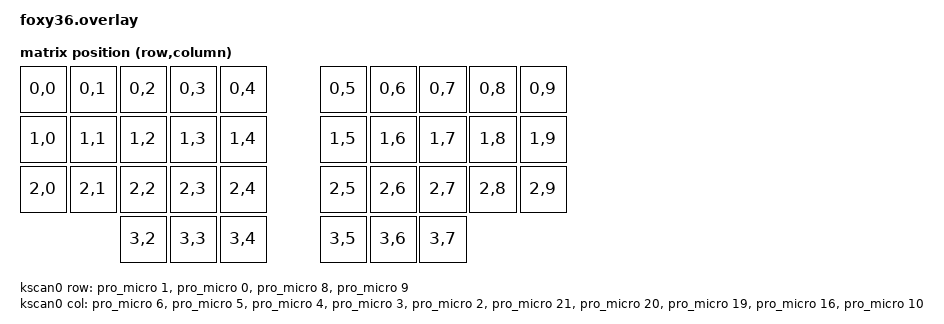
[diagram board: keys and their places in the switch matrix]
#define ZMK_POINTING_DEFAULT_MOVE_VAL 1500  // default: 600
#define ZMK_POINTING_DEFAULT_SCRL_VAL 20    // default: 10

#include <dt-bindings/zmk/matrix_transform.h>
#include <dt-bindings/zmk/mouse.h>
#include <behaviors.dtsi>
#include <dt-bindings/zmk/bt.h>
#include <dt-bindings/zmk/keys.h>
#include <dt-bindings/zmk/pointing.h>

&mt {
    flavor = "tap-preferred";
    tapping-terms-ms = <300>;
};

/ {
    behaviors {
        skq: skq {
            compatible = "zmk,behavior-sticky-key";
            label = "SKQ";
            bindings = <&kp>;
            #binding-cells = <1>;
            release-after-ms = <1000>;
            quick-release;
        };

        dt_copy: dt_copy {
            compatible = "zmk,behavior-tap-dance";
            label = "DT_COPY";
            #binding-cells = <0>;
            bindings = <&kp W>, <&copy_mac>;
        };

        dt_paste: dt_paste {
            compatible = "zmk,behavior-tap-dance";
            label = "DT_PASTE";
            #binding-cells = <0>;
            bindings = <&kp P>, <&paste_mac>;
        };

        dt_cut: dt_cut {
            compatible = "zmk,behavior-tap-dance";
            label = "DT_CUT";
            #binding-cells = <0>;
            bindings = <&kp X>, <&cut_mac>;
        };

        ht_copy_mac: ht_copy_mac {
            compatible = "zmk,behavior-hold-tap";
            label = "HT_COPY_MAC";
            bindings = <&copy_mac>, <&kp>;

            #binding-cells = <2>;
            tapping-term-ms = <200>;
            require-prior-idle-ms = <500>;
            flavor = "tap-preferred";
        };

        ht_cut_mac: ht_cut_mac {
            compatible = "zmk,behavior-hold-tap";
            label = "HT_CUT_MAC";
            bindings = <&cut_mac>, <&kp>;

            #binding-cells = <2>;
            tapping-term-ms = <200>;
            require-prior-idle-ms = <500>;
            flavor = "tap-preferred";
        };

        ht_paste_mac: ht_paste_mac {
            compatible = "zmk,behavior-hold-tap";
            label = "HT_PASTE_MAC";
            bindings = <&paste_mac>, <&kp>;

            #binding-cells = <2>;
            tapping-term-ms = <200>;
            require-prior-idle-ms = <500>;
            flavor = "tap-preferred";
        };

        hold_tap_layer: hold_tap_layer {
            compatible = "zmk,behavior-hold-tap";
            label = "HOLD_TAP_LAYER";
            bindings = <&kp>, <&tog>;

            #binding-cells = <2>;
            tapping-term-ms = <200>;
            flavor = "hold-preferred";
        };

        ht_tmx_scrl: ht_tmx_scrl {
            compatible = "zmk,behavior-hold-tap";
            label = "HT_TMX_SCRL";
            bindings = <&mc_tmx_scrl>, <&kp>;

            #binding-cells = <2>;
            tapping-term-ms = <300>;
            flavor = "tap-preferred";
            require-prior-idle-ms = <200>;
        };
      combos {
        compatible = "zmk,combos";

        Shift {
            bindings = <&skq LEFT_SHIFT>;
            key-positions = <16 15>;
            timeout-ms = <75>;
            require-prior-idle-ms = <200>;
        };

        Ctrl {
            bindings = <&sk LEFT_CONTROL>;
            key-positions = <14 15>;
            require-prior-idle-ms = <200>;
        };

        Alt {
            bindings = <&sk LEFT_ALT>;
            key-positions = <14 13>;
            require-prior-idle-ms = <200>;
        };

        Mod {
            bindings = <&sk LEFT_GUI>;
            key-positions = <27 28>;
            require-prior-idle-ms = <200>;
        };

        r_Alt {
            bindings = <&sk LEFT_ALT>;
            key-positions = <19 20>;
            require-prior-idle-ms = <350>;
        };

        toggle_qwerty {
            bindings = <&to 1>;
            key-positions = <37 40>;
            timeout-ms = <75>;
            require-prior-idle-ms = <200>;
            layers = <0>;
        };

        toggle_colemakdh {
            bindings = <&to 0>;
            key-positions = <37 40>;
            timeout-ms = <75>;
            require-prior-idle-ms = <200>;
            layers = <1>;
        };

        r_Ctrl {
            bindings = <&sk RIGHT_CONTROL>;
            key-positions = <20 21>;
            require-prior-idle-ms = <350>;
        };

        r_Shift {
            bindings = <&sk RIGHT_SHIFT>;
            key-positions = <21 22>;
            require-prior-idle-ms = <350>;
        };

        r_Mod {
            bindings = <&sk RIGHT_GUI>;
            key-positions = <31 32>;
            require-prior-idle-ms = <350>;
        };
    };

    macros {
        bt_0: bt_0 {
            compatible = "zmk,behavior-macro";
            #binding-cells = <0>;
            bindings = <&bt BT_SEL 0 &to 0>;
            label = "BT_0";
        };

        bt_1: bt_1 {
            compatible = "zmk,behavior-macro";
            #binding-cells = <0>;
            bindings = <&bt BT_SEL 1 &to 0>;
            label = "BT_1";
        };

        bt_2: bt_2 {
            compatible = "zmk,behavior-macro";
            #binding-cells = <0>;
            bindings = <&bt BT_SEL 2 &to 0>;
            label = "BT_2";
        };

        bt_3: bt_3 {
            compatible = "zmk,behavior-macro";
            #binding-cells = <0>;
            bindings = <&bt BT_SEL 3 &to 0>;
            label = "BT_3";
        };

        bt_4: bt_4 {
            compatible = "zmk,behavior-macro";
            #binding-cells = <0>;
            bindings = <&bt BT_SEL 4 &to 0>;
            label = "BT_4";
        };

        copy_mac: copy {
            compatible = "zmk,behavior-macro";
            #binding-cells = <0>;
            bindings = <&sk LEFT_COMMAND &kp C>;
            label = "COPY";
        };

        paste_mac: paste {
            compatible = "zmk,behavior-macro";
            #binding-cells = <0>;
            bindings = <&sk LEFT_COMMAND &kp V>;
            label = "PASTE";
        };

        cut_mac: cut_mac {
            compatible = "zmk,behavior-macro";
            #binding-cells = <0>;
            bindings = <&sk LEFT_COMMAND &kp X>;
            label = "CUT_MAC";
        };

        mc_tmx_scrl: mc_tmx_scrl {
            compatible = "zmk,behavior-macro";
            #binding-cells = <0>;
            bindings = <&sk LC(S) &kp LEFT_BRACKET>;
            label = "MC_TMX_SCRL";
        };
    };
    };

    kscan0: kscan0 {
        compatible = "zmk,kscan-gpio-matrix";
        diode-direction = "col2row";
        wakeup-source;

        col-gpios
            = <&pro_micro 6 GPIO_ACTIVE_HIGH>
            , <&pro_micro 5 GPIO_ACTIVE_HIGH>
            , <&pro_micro 4 GPIO_ACTIVE_HIGH>
            , <&pro_micro 3 GPIO_ACTIVE_HIGH>
            , <&pro_micro 2 GPIO_ACTIVE_HIGH>
            , <&pro_micro 21 GPIO_ACTIVE_HIGH>
            , <&pro_micro 20 GPIO_ACTIVE_HIGH>
            , <&pro_micro 19 GPIO_ACTIVE_HIGH>
            , <&pro_micro 16 GPIO_ACTIVE_HIGH>
            , <&pro_micro 10 GPIO_ACTIVE_HIGH>
            ;

        row-gpios
            = <&pro_micro 1 (GPIO_ACTIVE_HIGH | GPIO_PULL_DOWN)>
            , <&pro_micro 0 (GPIO_ACTIVE_HIGH | GPIO_PULL_DOWN)>
            , <&pro_micro 8 (GPIO_ACTIVE_HIGH | GPIO_PULL_DOWN)>
            , <&pro_micro 9 (GPIO_ACTIVE_HIGH | GPIO_PULL_DOWN)>
            ;
    };

    default_transform: matrix_transform {
        compatible = "zmk,matrix-transform";
        rows = <4>;
        columns = <10>;
        // ┌───┬───┬───┬───┬───┐  ┌───┬───┬───┬───┬───┐
        // │ Q │ W │ F │ P │ B │  │ J │ L │ U │ Y │ ; │
        // ├───┼───┼───┼───┼───┤  ├───┼───┼───┼───┼───┤
        // │ A │ R │ S │ T │ G │  │ H │ N │ E │ I │ O │
        // ├───┼───┼───┼───┼───┤  ├───┼───┼───┼───┼───┤
        // │ Z │ X │ C │ D │ V │  │ K │ H │ , │ . │ / │
        // └───┴───┼───┼───┼───┤  ├───┼───┼───┼───┴───┘
        //         │ - │ - │ - │  │ - │ - │ - │
        //         └───┴───┴───┘  └───┴───┴───┘
        map = <
            RC(0,0) RC(0,1) RC(0,2) RC(0,3) RC(0,4)   RC(0,5) RC(0,6) RC(0,7) RC(0,8) RC(0,9)
            RC(1,0) RC(1,1) RC(1,2) RC(1,3) RC(1,4)   RC(1,5) RC(1,6) RC(1,7) RC(1,8) RC(1,9)
            RC(2,0) RC(2,1) RC(2,2) RC(2,3) RC(2,4)   RC(2,5) RC(2,6) RC(2,7) RC(2,8) RC(2,9)
                            RC(3,2) RC(3,3) RC(3,4)   RC(3,5) RC(3,6) RC(3,7)
        >;
    };

    physical_layout0: physical_layout_0 {
        compatible = "zmk,physical-layout";
        display-name = "Default Layout";
        kscan = <&kscan0>; // Label of the kscan node, optional if all layouts use the same
        transform = <&default_transform>; // Label of the matrix transform for this layout
    };

    chosen {
        zmk,physical-layout = &physical_layout0;
    };
};
